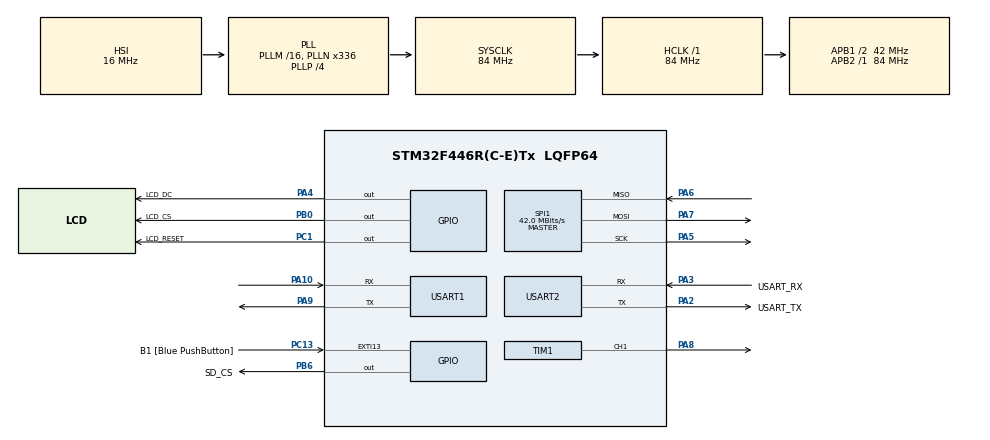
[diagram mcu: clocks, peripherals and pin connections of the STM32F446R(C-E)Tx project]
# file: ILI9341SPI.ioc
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FATFS._MAX_SS=4096
FATFS._USE_LFN=1
Mcu.Family=STM32F4
Mcu.Name=STM32F446R(C-E)Tx
Mcu.Package=LQFP64
NVIC.PriorityGroup=NVIC_PRIORITYGROUP_0
NVIC.USART1_IRQn=true\:0\:0\:false\:false\:true\:true\:true\:true
NVIC.USART2_IRQn=true\:0\:0\:false\:false\:true\:true\:true\:true
PA10.Mode=Asynchronous
PA10.Signal=USART1_RX
PA13.GPIO_Label=TMS
PA13.Mode=Serial_Wire
PA13.Signal=SYS_JTMS-SWDIO
PA14.GPIO_Label=TCK
PA14.Mode=Serial_Wire
PA14.Signal=SYS_JTCK-SWCLK
PA2.GPIO_Label=USART_TX
PA2.Mode=Asynchronous
PA2.Signal=USART2_TX
PA3.GPIO_Label=USART_RX
PA3.Mode=Asynchronous
PA3.Signal=USART2_RX
PA4.GPIO_Label=LCD_DC
PA4.GPIO_Speed=GPIO_SPEED_FREQ_MEDIUM
PA4.Signal=GPIO_Output
PA5.Mode=Full_Duplex_Master
PA5.Signal=SPI1_SCK
PA6.Mode=Full_Duplex_Master
PA6.Signal=SPI1_MISO
PA7.Mode=Full_Duplex_Master
PA7.Signal=SPI1_MOSI
PA8.Signal=S_TIM1_CH1
PA9.Mode=Asynchronous
PA9.Signal=USART1_TX
PB0.GPIO_Label=LCD_CS
PB0.GPIO_Speed=GPIO_SPEED_FREQ_MEDIUM
PB0.PinState=GPIO_PIN_SET
PB0.Signal=GPIO_Output
PB3.GPIO_Label=SWO
PB3.Signal=SYS_JTDO-SWO
PB6.GPIO_Label=SD_CS
PB6.GPIO_Speed=GPIO_SPEED_FREQ_MEDIUM
PB6.PinState=GPIO_PIN_SET
PB6.Signal=GPIO_Output
PC1.GPIO_Label=LCD_RESET
PC1.GPIO_Speed=GPIO_SPEED_FREQ_MEDIUM
PC1.Signal=GPIO_Output
PC13.GPIO_Label=B1 [Blue PushButton]
PC13.GPIO_ModeDefaultEXTI=GPIO_MODE_IT_FALLING
PC13.Signal=GPXTI13
PC14-OSC32_IN.Mode=LSE-External-Oscillator
PC14-OSC32_IN.Signal=RCC_OSC32_IN
PC15-OSC32_OUT.Mode=LSE-External-Oscillator
PC15-OSC32_OUT.Signal=RCC_OSC32_OUT
PH0-OSC_IN.Mode=HSE-External-Oscillator
PH0-OSC_IN.Signal=RCC_OSC_IN
PH1-OSC_OUT.Mode=HSE-External-Oscillator
PH1-OSC_OUT.Signal=RCC_OSC_OUT
ProjectManager.HeapSize=0x200
ProjectManager.StackSize=0x400
ProjectManager.TargetToolchain=STM32CubeIDE
RCC.48MHZClocksFreq_Value=84000000
RCC.AHBFreq_Value=84000000
RCC.APB1CLKDivider=RCC_HCLK_DIV2
RCC.APB1Freq_Value=42000000
RCC.APB1TimFreq_Value=84000000
RCC.APB2Freq_Value=84000000
RCC.APB2TimFreq_Value=84000000
RCC.CortexFreq_Value=84000000
RCC.FLatency-AdvancedSettings=FLASH_LATENCY_2
RCC.HCLKFreq_Value=84000000
RCC.HSE_VALUE=8000000
RCC.HSI_VALUE=16000000
RCC.PLLN=336
RCC.PLLP=RCC_PLLP_DIV4
RCC.SYSCLKFreq_VALUE=84000000
RCC.SYSCLKSource=RCC_SYSCLKSOURCE_PLLCLK
RCC.USBFreq_Value=168000000
RCC.VCOOutputFreq_Value=336000000
SH.S_TIM1_CH1.0=TIM1_CH1,PWM Generation1 CH1
SPI1.BaudRatePrescaler=SPI_BAUDRATEPRESCALER_2
SPI1.CalculateBaudRate=42.0 MBits/s
SPI1.Direction=SPI_DIRECTION_2LINES
SPI1.Mode=SPI_MODE_MASTER
SPI1.VirtualType=VM_MASTER
TIM1.Channel-PWM\ Generation1\ CH1=TIM_CHANNEL_1
TIM1.Period=255
TIM1.Prescaler=82
USART1.VirtualMode=VM_ASYNC
USART2.VirtualMode=VM_ASYNC
VP_FATFS_VS_Generic.Mode=User_defined
board=NUCLEO-F446RE

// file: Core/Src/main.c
/* USER CODE BEGIN Header */
/**
 ******************************************************************************
 * @file           : main.c
 * @brief          : Main program body
 ******************************************************************************
 * @attention
 *
 * Copyright (c) 2024 STMicroelectronics.
 * All rights reserved.
 *
 * This software is licensed under terms that can be found in the LICENSE file
 * in the root directory of this software component.
 * If no LICENSE file comes with this software, it is provided AS-IS.
 *
 ******************************************************************************
 */
/* USER CODE END Header */
#include "main.h"
#include "fatfs.h"

/* USER CODE BEGIN Includes */
#include "fatfs_sd.h"
#include "ili9341.h"
#include "bitmaps.h"
#include <stdio.h>
#include <string.h>
/* USER CODE END Includes */

/* USER CODE BEGIN PD */
SPI_HandleTypeDef hspi1;
FATFS fs;
FATFS *pfs;
FIL fil;
FRESULT fres;
DWORD fre_clust;
uint32_t totalSpace, freeSpace;
char buffer[100];

/* USER CODE END PD */

SPI_HandleTypeDef hspi1;

TIM_HandleTypeDef htim1;

UART_HandleTypeDef huart1;
UART_HandleTypeDef huart2;

/* USER CODE BEGIN PV */
#define NOTE_G5 784   // Sol en la quinta octava
#define NOTE_E4  330
#define NOTE_F4S 349
#define NOTE_G4S 392
#define NOTE_A4  440
#define NOTE_B4  494
#define NOTE_C5S 554
#define NOTE_D5S 622
#define NOTE_E5  659
#define NOTE_F5S 740
#define NOTE_G5S 784
#define NOTE_C5   523
#define NOTE_C5S  554
#define NOTE_D5   587
#define NOTE_D5S  622
#define NOTE_E5   659
#define NOTE_B4   494
volatile uint8_t comandoPendiente = 0;
volatile uint8_t hayComando = 0;
uint16_t kirbyMelody[] = {
    NOTE_E4, NOTE_C5S, NOTE_A4, NOTE_F4S,
    NOTE_G4S, NOTE_E4, NOTE_G4S, NOTE_A4
};

uint16_t kirbyDurations[] = {
    400, 400, 400, 400,
    400, 400, 400, 800
};

uint32_t kirbyLength = sizeof(kirbyMelody)/sizeof(kirbyMelody[0]);

// --- MELODÍA DE GAME OVER ---
uint16_t gameOverMelody[] = {
    NOTE_E5, NOTE_D5S, NOTE_D5, NOTE_C5S, NOTE_C5, NOTE_B4
};

uint16_t gameOverDurations[] = {
    300, 300, 300, 300, 300, 600
};

uint32_t gameOverLength = sizeof(gameOverMelody)/sizeof(gameOverMelody[0]);

void LCD_DrawPixel(uint16_t x, uint16_t y, uint16_t color);
int velY = 0;       // velocidad vertical
int enSuelo = 1;    // bandera para saber si está en el suelo
extern const uint16_t fondoKirby[];
extern const uint16_t fondoInicio[];
extern const uint16_t vida[];
char rx;
int flip = 0; // 0 = derecha, 1 = izquierda
int posX = 100; // posición inicial
int posY = 185;
int invulnerable = 0;   // 0 = normal, 1 = invulnerable
uint32_t tiempoInvulnerable = 0;
static int anim = 0; // índice de animación
#define TILE_SIZE 16   // tamaño de cada tile en píxeles
// --- ENEMIGO ---
int enemigoX = 230;
int enemigoY = 185;
int enemigoDir = -1;   // -1 = izquierda, 1 = derecha
int enemigoVel = 1;    // velocidad del enemigo
int animEnemigo = 0;
int vidas = 3;
int enemigosDerrotados = 0;

#define ENEMIGO_WIDTH  22
#define ENEMIGO_HEIGHT 22

int mapa[15][20] = {
  {1,1,1,1,1,1,1,1,1,1,1,1,1,1,1,1,1,1,1,1}, // fila superior bloqueada
  {1,0,0,0,0,0,0,0,0,0,0,0,0,0,0,0,0,0,0,1}, // aire
  {1,0,0,0,0,0,0,0,0,0,0,0,0,0,0,0,0,0,0,1}, // aire
  {1,0,0,0,0,0,0,0,0,0,0,0,0,0,0,0,0,0,0,1}, // aire
  {1,0,0,0,0,0,0,0,0,0,0,0,0,0,0,0,0,0,0,1}, // aire
  {1,0,0,0,0,0,0,0,0,0,0,0,0,0,0,0,0,0,0,1}, // aire
  {1,0,0,0,0,0,0,0,0,0,0,0,0,0,0,0,0,0,0,1}, // aire
  {1,0,0,0,0,0,0,0,0,0,0,0,0,0,0,0,0,0,0,1}, // aire
  {1,0,0,0,0,0,0,0,0,0,0,0,0,0,0,0,0,0,0,1}, // aire
  {1,0,0,0,0,0,0,0,0,0,0,0,0,0,0,0,0,0,0,1}, // aire
  {1,0,0,0,0,0,0,0,0,0,0,0,0,0,0,0,0,0,0,1}, // aire
  {1,0,0,0,0,0,0,0,0,0,0,0,0,0,0,0,0,0,0,1}, // aire
  {1,0,0,0,0,0,0,0,0,0,0,0,0,0,0,0,0,0,0,1}, // aire
  {1,1,1,1,1,1,1,1,1,1,1,1,1,1,1,1,1,1,1,1}, // aire
  {1,1,1,1,1,1,1,1,1,1,1,1,1,1,1,1,1,1,1,1}  // suelo al fondo
};

#define SCREEN_WIDTH  320
#define SCREEN_HEIGHT 240
#define KIRBY_WIDTH   21
#define KIRBY_HEIGHT  22

/* USER CODE END PV */

void SystemClock_Config(void);
static void MX_GPIO_Init(void);
static void MX_USART2_UART_Init(void);
static void MX_USART1_UART_Init(void);
static void MX_TIM1_Init(void);
static void MX_SPI1_Init(void);
/* USER CODE BEGIN PFP */
void LCD_Bitmap_Scaled(int x, int y, int w, int h, const uint16_t *img);
void playMelody(uint16_t *melody, uint16_t *durations, uint32_t length);
const char* fatfs_error_text(FRESULT res);
void dibujarVidas(void);

/* USER CODE END PFP */

/* USER CODE BEGIN 0 */

int puedeMover(int nuevoX, int nuevoY) {
    int tileX = nuevoX / TILE_SIZE;
    int tileY = nuevoY / TILE_SIZE;

    // Si el tile es sólido (1), no se mueve
    if (mapa[tileY][tileX] == 1) {
        return 0;
    }
    return 1;
}

int dentroPantalla(int nuevoX, int nuevoY) {
    if (nuevoX < 0) return 0; // límite izquierdo
    if (nuevoY < 0) return 0; // límite superior
    if (nuevoX + KIRBY_WIDTH >= SCREEN_WIDTH) return 0; // límite derecho
    if (nuevoY + KIRBY_HEIGHT >= SCREEN_HEIGHT) return 0; // límite inferior
    return 1; // dentro de la pantalla
}

/* USER CODE END 0 */

int main(void)
{

  /* MCU Configuration--------------------------------------------------------*/

  /* Reset of all peripherals, Initializes the Flash interface and the Systick. */
  HAL_Init();

  /* Configure the system clock */
  SystemClock_Config();

  /* Initialize all configured peripherals */
  MX_GPIO_Init();
  MX_USART2_UART_Init();
  MX_SPI1_Init();
  MX_USART1_UART_Init();
  MX_FATFS_Init();
  MX_TIM1_Init();
  /* USER CODE BEGIN 2 */
  HAL_TIM_PWM_Start(&htim1, TIM_CHANNEL_1);
  #define DBG(s)  HAL_UART_Transmit(&huart2, (uint8_t*)(s), strlen(s), 200)
  void transmit_uart(const char *s) {
      HAL_UART_Transmit(&huart2, (uint8_t*)s, strlen(s), 200);
  }

  FRESULT f_mount(FATFS *fs, const TCHAR *path, BYTE opt);
  FRESULT f_open(FIL* fp, const TCHAR* path, BYTE mode);
  TCHAR* f_gets(TCHAR* buff, int len, FIL* fp);
  FRESULT f_close(FIL* fp);
  FRESULT f_read(FIL* fp, void* buff, UINT btr, UINT* br);
  FRESULT f_write(FIL* fp, const void* buff, UINT btr, UINT* br);

  fres = f_mount(&fs, "", 0);
  if (fres != FR_OK) {
   transmit_uart("Micro SD card is mounted succesfully!\n");
   } else if (fres != FR_OK){
   transmit_uart("Micro SD car munt error");
   }
      // 2. Crear archivo nuevo
      fres = f_open(&fil, "PRUEBA.TXT", FA_OPEN_APPEND | FA_WRITE | FA_READ);
      if (fres == FR_OK) {
          transmit_uart("File opened for reading and checking the free space\n");
      } else if (fres != FR_OK){
    	  transmit_uart("File was not opned for reading an checking the free space\n");
      }
       for (uint8_t i = 0; i <10; i++){
        	  f_puts("This text is written in the file.\n",&fil);
       }
          // 4. Cerrar archivo
          fres = f_close(&fil);
          if (fres == FR_OK) {
              transmit_uart("The file is closed.\n");
          } else if (fres != FR_OK){
              transmit_uart("The file was not closed.\n");
          }
      fres = f_open(&fil, "PRUEBA.TXT", FA_READ);
      if (fres == FR_OK){
    	  transmit_uart("File opened for reading\n");
      } else if (fres != FR_OK){
    	  transmit_uart("File was not opened for reading\n");
      }
      while (f_gets(buffer, sizeof(buffer), &fil)){
    	  char mRd[100];
    	  sprintf(mRd, "%s", buffer);
    	  transmit_uart(mRd);
      }
      //Close File
      fres = f_close(&fil);
      if (fres == FR_OK){
    	  transmit_uart("The file is closed\n");
      } else if (fres != FR_OK){
    	  transmit_uart("The file was not closed\n");
      }
      // 5. Desmontar SD
      fres = f_mount(NULL, "", 1);
      if (fres == FR_OK) {
          transmit_uart("SD unmounted.\n");
      } else {
          transmit_uart("SD unmount error.\n");
      }

  char msg[] = "STM32 listo\r\n";

  // --- MENÚ DE INICIO ---
  LCD_Init();
  LCD_Clear(0x0000);
  LCD_Bitmap_Scaled(0, 0, 160, 120, fondoInicio);
  LCD_Print("Presiona cualquier", 20, 100, 2, 0xFFFF, 0x0000);
  LCD_Print("boton", 100, 120, 2, 0xFFFF, 0x0000);

  // Esperar botón
  while (HAL_UART_Receive(&huart1, (uint8_t*)&rx, 1, 100) != HAL_OK);

  // Reproducir música de inicio
  playMelody(kirbyMelody, kirbyDurations, kirbyLength);

  // --- ESCENARIO PRINCIPAL ---
  LCD_Clear(0x0000);
  LCD_Bitmap_Scaled(0, 0, 160, 120, fondoKirby);

  // dibuja bloques del escenario
  for (int x = 0; x < 319; x += 15) {

      LCD_Bitmap(x, 207, 15, 15, tile);
      LCD_Bitmap(x, 223, 15, 15, tile);
  }

  // dibuja a Kirby en la posición inicial
  LCD_Sprite(posX, posY, KIRBY_WIDTH, KIRBY_HEIGHT, kirby, 4, 0, 0, 0);
  // Dibujar enemigo al iniciar
  LCD_Sprite(enemigoX, enemigoY,
             ENEMIGO_WIDTH, ENEMIGO_HEIGHT,
             enemigo, 2, 0, 0, 0xF81F);
  // preparar UART para recibir datos del mando
  HAL_UART_Receive_IT(&huart1, (uint8_t*)&rx, 1);
  HAL_UART_Transmit(&huart1, (uint8_t*)msg, sizeof(msg)-1, 100);

  /* USER CODE END 2 */

  /* Infinite loop */
  /* USER CODE BEGIN WHILE */
	LCD_Sprite(posX, posY, 21, 22, kirby, 4, 0, 0, 0);

	while (1) {
	    // Recepción de datos desde el ESP32
		if (hayComando)
		{
		    uint8_t comando;

		    __disable_irq();
		    comando = comandoPendiente;
		    hayComando = 0;
		    __enable_irq();

		    if (comando == 'L' && dentroPantalla(posX - 5, posY))
		    {
		        posX -= 5;
		        flip = 1;
		    }
		    else if (comando == 'R' && dentroPantalla(posX + 5, posY))
		    {
		        posX += 5;
		        flip = 0;
		    }
		    else if (comando == 'A' && enSuelo)
		    {
		        velY = -12;
		        enSuelo = 0;
		    }

		    if (comando == 'L' || comando == 'R' || comando == 'A')
		    {
		        playMelody(kirbyMelody, kirbyDurations, kirbyLength);
		    }
		}
	    // Guardar posición anterior
	    int oldX = posX;
	    int oldY = posY;

	    // --- GRAVEDAD + DETECCIÓN DE BLOQUES ---
	    velY += 1;
	    int nuevoY = posY + velY;

	    int tileLeft  = posX / TILE_SIZE;
	    int tileRight = (posX + KIRBY_WIDTH - 1) / TILE_SIZE;
	    int tileY     = (nuevoY + KIRBY_HEIGHT) / TILE_SIZE;

	    if (tileY >= 0 && tileY < 15) {
	        if ((mapa[tileY][tileLeft] == 1 || mapa[tileY][tileRight] == 1) && velY >= 0) {
	            posY = tileY * TILE_SIZE - KIRBY_HEIGHT;
	            velY = 0;
	            enSuelo = 1;
	        } else {
	            posY = nuevoY;
	            enSuelo = 0;
	        }
	    } else {
	        posY = nuevoY;
	        enSuelo = 0;
	    }

	    // --- REDIBUJAR KIRBY ---
	    // Borrar sprite anterior en la posición vieja
	    LCD_Bitmap(oldX, oldY, KIRBY_WIDTH, KIRBY_HEIGHT, fondoKirby);
	    dibujarVidas();
	    // Animación según estado
	    if (enSuelo) {
	        anim = 0; // quieto en el suelo
	    } else {
	        anim = (anim + 1) % 4; // animación en el aire
	    }

	    // Dibujar sprite en la nueva posición
	    LCD_Sprite(posX, posY, KIRBY_WIDTH, KIRBY_HEIGHT, kirby, 4, anim, 0, 0);
	    // --- MOVIMIENTO AUTOMÁTICO DEL ENEMIGO ---
	    int enemigoXAnterior = enemigoX;

	    // Mover enemigo
	    enemigoX += enemigoDir * enemigoVel;

	    // Cambiar dirección al llegar a los límites
	    if (enemigoX <= 20) {
	        enemigoX = 20;
	        enemigoDir = 1;
	    }
	    else if (enemigoX + ENEMIGO_WIDTH >= SCREEN_WIDTH - 10) {
	        enemigoX = SCREEN_WIDTH - ENEMIGO_WIDTH - 10;
	        enemigoDir = -1;
	    }

	    // Animación sencilla
	    animEnemigo = (animEnemigo + 1) % 2;

	    // Borrar posición anterior
	    LCD_Bitmap(enemigoXAnterior, enemigoY,
	               ENEMIGO_WIDTH, ENEMIGO_HEIGHT, fondoKirby);

	    // Dibujar enemigo en nueva posición
	    LCD_Sprite(enemigoX, enemigoY,
	               ENEMIGO_WIDTH, ENEMIGO_HEIGHT,
	               enemigo, 2, animEnemigo % 4,
	               (enemigoDir == -1) ? 1 : 0, 0xF81F);

	    // --- DETECCIÓN DE COLISIÓN ENTRE KIRBY Y ENEMIGO ---
	    if (posX < enemigoX + ENEMIGO_WIDTH &&
	        posX + KIRBY_WIDTH > enemigoX &&
	        posY < enemigoY + ENEMIGO_HEIGHT &&
	        posY + KIRBY_HEIGHT > enemigoY) {

	    	// Caso: Kirby cae encima del enemigo
	    	// Caso: Kirby cae encima del enemigo
	    	if (velY > 0 && (posY + KIRBY_HEIGHT - 5) <= enemigoY) {
	    	    velY = -10; // rebote hacia arriba

	    	    // --- Animación de morir del enemigo ---
	    	    LCD_Sprite(enemigoX, enemigoY,
	    	               ENEMIGO_WIDTH, ENEMIGO_HEIGHT,
	    	               enemigo, 2, 3, 0, 0xF81F);
	    	    HAL_Delay(300);

	    	    // Luego borrarlo de pantalla
	    	    LCD_Bitmap(enemigoX, enemigoY, ENEMIGO_WIDTH, ENEMIGO_HEIGHT, fondoKirby);
	    	    enemigoX = -100;

	    	    // Sonido de enemigo derrotado
	    	    uint16_t enemyHitMelody[] = { NOTE_E5, NOTE_C5 };
	    	    uint16_t enemyHitDurations[] = { 150, 300 };
	    	    playMelody(enemyHitMelody, enemyHitDurations, 2);

	    	    // Contador de enemigos derrotados
	    	    enemigosDerrotados++;

	    	    // Verificar si ya ganó
	    	    if (enemigosDerrotados >= 5) {
	    	        LCD_Clear(0x0000);
	    	        LCD_Print("¡GANASTE!", 100, 80, 2, 0xFFFF, 0x0000);

	    	        uint16_t winMelody[] = { NOTE_C5, NOTE_E5, NOTE_G5, NOTE_C5*2 };
	    	        uint16_t winDurations[] = { 200, 200, 200, 600 };
	    	        playMelody(winMelody, winDurations, 4);

	    	        while(1); // detener el juego
	    	    }
	    	}

	        else {
	            // Caso: el enemigo daña a Kirby
	            if (!invulnerable && vidas > 0) {
	                vidas--;          // resta una vida
	                dibujarVidas();   // actualiza la barra de vidas

	                invulnerable = 1; // activa invulnerabilidad
	                tiempoInvulnerable = HAL_GetTick();

	                // --- SONIDO DE DAÑO ---
	                uint16_t damageMelody[] = { NOTE_C5, NOTE_B4 };
	                uint16_t damageDurations[] = { 100, 300 };
	                playMelody(damageMelody, damageDurations, 2);
	            }
	        }
	    }

	    // --- CONTROL DE INVULNERABILIDAD ---
	    if (invulnerable && (HAL_GetTick() - tiempoInvulnerable > 2000)) {
	        invulnerable = 0; // vuelve a estado normal después de 2 segundos
	    }

	    // --- GAME OVER ---
	    if (vidas <= 0) {
	        LCD_Clear(0x0000);
	        LCD_Print("GAME OVER", 100, 80, 2, 0xFFFF, 0x0000);

	        // Reproducir canción de Game Over
	        playMelody(gameOverMelody, gameOverDurations, gameOverLength);
	    }

	    HAL_Delay(40);

    /* USER CODE END WHILE */

	}
}

void SystemClock_Config(void)
{
  RCC_OscInitTypeDef RCC_OscInitStruct = {0};
  RCC_ClkInitTypeDef RCC_ClkInitStruct = {0};

  /** Configure the main internal regulator output voltage
  */
  __HAL_RCC_PWR_CLK_ENABLE();
  __HAL_PWR_VOLTAGESCALING_CONFIG(PWR_REGULATOR_VOLTAGE_SCALE3);

  /** Initializes the RCC Oscillators according to the specified parameters
  * in the RCC_OscInitTypeDef structure.
  */
  RCC_OscInitStruct.OscillatorType = RCC_OSCILLATORTYPE_HSI;
  RCC_OscInitStruct.HSIState = RCC_HSI_ON;
  RCC_OscInitStruct.HSICalibrationValue = RCC_HSICALIBRATION_DEFAULT;
  RCC_OscInitStruct.PLL.PLLState = RCC_PLL_ON;
  RCC_OscInitStruct.PLL.PLLSource = RCC_PLLSOURCE_HSI;
  RCC_OscInitStruct.PLL.PLLM = 16;
  RCC_OscInitStruct.PLL.PLLN = 336;
  RCC_OscInitStruct.PLL.PLLP = RCC_PLLP_DIV4;
  RCC_OscInitStruct.PLL.PLLQ = 2;
  RCC_OscInitStruct.PLL.PLLR = 2;
  if (HAL_RCC_OscConfig(&RCC_OscInitStruct) != HAL_OK)
  {
    Error_Handler();
  }

  /** Initializes the CPU, AHB and APB buses clocks
  */
  RCC_ClkInitStruct.ClockType = RCC_CLOCKTYPE_HCLK|RCC_CLOCKTYPE_SYSCLK
                              |RCC_CLOCKTYPE_PCLK1|RCC_CLOCKTYPE_PCLK2;
  RCC_ClkInitStruct.SYSCLKSource = RCC_SYSCLKSOURCE_PLLCLK;
  RCC_ClkInitStruct.AHBCLKDivider = RCC_SYSCLK_DIV1;
  RCC_ClkInitStruct.APB1CLKDivider = RCC_HCLK_DIV2;
  RCC_ClkInitStruct.APB2CLKDivider = RCC_HCLK_DIV1;

  if (HAL_RCC_ClockConfig(&RCC_ClkInitStruct, FLASH_LATENCY_2) != HAL_OK)
  {
    Error_Handler();
  }
}

  /* SPI1 parameter configuration*/
  static void MX_SPI1_Init(void) {
  hspi1.Instance = SPI1;
  hspi1.Init.Mode = SPI_MODE_MASTER;
  hspi1.Init.Direction = SPI_DIRECTION_2LINES;
  hspi1.Init.DataSize = SPI_DATASIZE_8BIT;
  hspi1.Init.CLKPolarity = SPI_POLARITY_LOW;
  hspi1.Init.CLKPhase = SPI_PHASE_1EDGE;
  hspi1.Init.NSS = SPI_NSS_SOFT;
  hspi1.Init.BaudRatePrescaler = SPI_BAUDRATEPRESCALER_2;
  hspi1.Init.FirstBit = SPI_FIRSTBIT_MSB;
  hspi1.Init.TIMode = SPI_TIMODE_DISABLE;
  hspi1.Init.CRCCalculation = SPI_CRCCALCULATION_DISABLE;
  hspi1.Init.CRCPolynomial = 10;
  if (HAL_SPI_Init(&hspi1) != HAL_OK)
  {
    Error_Handler();
  }

}

static void MX_TIM1_Init(void)
{

  TIM_MasterConfigTypeDef sMasterConfig = {0};
  TIM_OC_InitTypeDef sConfigOC = {0};
  TIM_BreakDeadTimeConfigTypeDef sBreakDeadTimeConfig = {0};

  htim1.Instance = TIM1;
  htim1.Init.Prescaler = 82;
  htim1.Init.CounterMode = TIM_COUNTERMODE_UP;
  htim1.Init.Period = 255;
  htim1.Init.ClockDivision = TIM_CLOCKDIVISION_DIV1;
  htim1.Init.RepetitionCounter = 0;
  htim1.Init.AutoReloadPreload = TIM_AUTORELOAD_PRELOAD_DISABLE;
  if (HAL_TIM_PWM_Init(&htim1) != HAL_OK)
  {
    Error_Handler();
  }
  sMasterConfig.MasterOutputTrigger = TIM_TRGO_RESET;
  sMasterConfig.MasterSlaveMode = TIM_MASTERSLAVEMODE_DISABLE;
  if (HAL_TIMEx_MasterConfigSynchronization(&htim1, &sMasterConfig) != HAL_OK)
  {
    Error_Handler();
  }
  sConfigOC.OCMode = TIM_OCMODE_PWM1;
  sConfigOC.Pulse = 0;
  sConfigOC.OCPolarity = TIM_OCPOLARITY_HIGH;
  sConfigOC.OCNPolarity = TIM_OCNPOLARITY_HIGH;
  sConfigOC.OCFastMode = TIM_OCFAST_DISABLE;
  sConfigOC.OCIdleState = TIM_OCIDLESTATE_RESET;
  sConfigOC.OCNIdleState = TIM_OCNIDLESTATE_RESET;
  if (HAL_TIM_PWM_ConfigChannel(&htim1, &sConfigOC, TIM_CHANNEL_1) != HAL_OK)
  {
    Error_Handler();
  }
  sBreakDeadTimeConfig.OffStateRunMode = TIM_OSSR_DISABLE;
  sBreakDeadTimeConfig.OffStateIDLEMode = TIM_OSSI_DISABLE;
  sBreakDeadTimeConfig.LockLevel = TIM_LOCKLEVEL_OFF;
  sBreakDeadTimeConfig.DeadTime = 0;
  sBreakDeadTimeConfig.BreakState = TIM_BREAK_DISABLE;
  sBreakDeadTimeConfig.BreakPolarity = TIM_BREAKPOLARITY_HIGH;
  sBreakDeadTimeConfig.AutomaticOutput = TIM_AUTOMATICOUTPUT_DISABLE;
  if (HAL_TIMEx_ConfigBreakDeadTime(&htim1, &sBreakDeadTimeConfig) != HAL_OK)
  {
    Error_Handler();
  }
  HAL_TIM_MspPostInit(&htim1);

}

static void MX_USART1_UART_Init(void)
{

  huart1.Instance = USART1;
  huart1.Init.BaudRate = 115200;
  huart1.Init.WordLength = UART_WORDLENGTH_8B;
  huart1.Init.StopBits = UART_STOPBITS_1;
  huart1.Init.Parity = UART_PARITY_NONE;
  huart1.Init.Mode = UART_MODE_TX_RX;
  huart1.Init.HwFlowCtl = UART_HWCONTROL_NONE;
  huart1.Init.OverSampling = UART_OVERSAMPLING_16;
  if (HAL_UART_Init(&huart1) != HAL_OK)
  {
    Error_Handler();
  }

}

static void MX_USART2_UART_Init(void)
{

  huart2.Instance = USART2;
  huart2.Init.BaudRate = 115200;
  huart2.Init.WordLength = UART_WORDLENGTH_8B;
  huart2.Init.StopBits = UART_STOPBITS_1;
  huart2.Init.Parity = UART_PARITY_NONE;
  huart2.Init.Mode = UART_MODE_TX_RX;
  huart2.Init.HwFlowCtl = UART_HWCONTROL_NONE;
  huart2.Init.OverSampling = UART_OVERSAMPLING_16;
  if (HAL_UART_Init(&huart2) != HAL_OK)
  {
    Error_Handler();
  }

}

static void MX_GPIO_Init(void)
{
  GPIO_InitTypeDef GPIO_InitStruct = {0};

  /* GPIO Ports Clock Enable */
  __HAL_RCC_GPIOC_CLK_ENABLE();
  __HAL_RCC_GPIOH_CLK_ENABLE();
  __HAL_RCC_GPIOA_CLK_ENABLE();
  __HAL_RCC_GPIOB_CLK_ENABLE();

  /*Configure GPIO pin Output Level */
  HAL_GPIO_WritePin(LCD_RESET_GPIO_Port, LCD_RESET_Pin, GPIO_PIN_RESET);

  /*Configure GPIO pin Output Level */
  HAL_GPIO_WritePin(LCD_DC_GPIO_Port, LCD_DC_Pin, GPIO_PIN_RESET);

  /*Configure GPIO pin Output Level */
  HAL_GPIO_WritePin(GPIOB, LCD_CS_Pin|SD_CS_Pin, GPIO_PIN_SET);

  /*Configure GPIO pin : B1_Pin */
  GPIO_InitStruct.Pin = B1_Pin;
  GPIO_InitStruct.Mode = GPIO_MODE_IT_FALLING;
  GPIO_InitStruct.Pull = GPIO_NOPULL;
  HAL_GPIO_Init(B1_GPIO_Port, &GPIO_InitStruct);

  /*Configure GPIO pin : LCD_RESET_Pin */
  GPIO_InitStruct.Pin = LCD_RESET_Pin;
  GPIO_InitStruct.Mode = GPIO_MODE_OUTPUT_PP;
  GPIO_InitStruct.Pull = GPIO_NOPULL;
  GPIO_InitStruct.Speed = GPIO_SPEED_FREQ_MEDIUM;
  HAL_GPIO_Init(LCD_RESET_GPIO_Port, &GPIO_InitStruct);

  /*Configure GPIO pin : LCD_DC_Pin */
  GPIO_InitStruct.Pin = LCD_DC_Pin;
  GPIO_InitStruct.Mode = GPIO_MODE_OUTPUT_PP;
  GPIO_InitStruct.Pull = GPIO_NOPULL;
  GPIO_InitStruct.Speed = GPIO_SPEED_FREQ_MEDIUM;
  HAL_GPIO_Init(LCD_DC_GPIO_Port, &GPIO_InitStruct);

  /*Configure GPIO pins : LCD_CS_Pin SD_CS_Pin */
  GPIO_InitStruct.Pin = LCD_CS_Pin|SD_CS_Pin;
  GPIO_InitStruct.Mode = GPIO_MODE_OUTPUT_PP;
  GPIO_InitStruct.Pull = GPIO_NOPULL;
  GPIO_InitStruct.Speed = GPIO_SPEED_FREQ_MEDIUM;
  HAL_GPIO_Init(GPIOB, &GPIO_InitStruct);

}

/* USER CODE BEGIN 4 */
void dibujarVidas() {
    for (int i = 0; i < vidas; i++) {
        LCD_Bitmap(10 + i*25, 10, 20, 20, vida); // dibuja cada ícono
    }
}

void playMelody(uint16_t *melody, uint16_t *durations, uint32_t length) {
  for (uint32_t i=0; i<length; i++) {
    uint32_t freq = melody[i];              // frecuencia de la nota
    uint32_t dur  = durations[i];           // duración en ms

    htim1.Init.Period = (84000000/(freq*84))-1;
    HAL_TIM_PWM_Init(&htim1);   // reinicializa el timer en cada nota
    __HAL_TIM_SET_COMPARE(&htim1, TIM_CHANNEL_1, htim1.Init.Period/2);

    HAL_Delay(dur);
    __HAL_TIM_SET_COMPARE(&htim1, TIM_CHANNEL_1, 0); // apaga la nota
    HAL_Delay(50);
  }
}

void LCD_Bitmap_Scaled(int x, int y, int w, int h, const uint16_t *img) {
    for (int j = 0; j < h; j++) {
        for (int i = 0; i < w; i++) {
            uint16_t color = img[j * w + i]; // pixel original
            // duplicar en 2x2
            LCD_DrawPixel(x + i*2,     y + j*2,     color);
            LCD_DrawPixel(x + i*2 + 1, y + j*2,     color);
            LCD_DrawPixel(x + i*2,     y + j*2 + 1, color);
            LCD_DrawPixel(x + i*2 + 1, y + j*2 + 1, color);
        }
    }
}

void HAL_UART_RxCpltCallback(UART_HandleTypeDef *huart) {
    if (huart->Instance == USART1) {
        char buffer[30];
        sprintf(buffer, "Recibido: %c\r\n", rx);
        HAL_UART_Transmit(&huart1, (uint8_t*)buffer, strlen(buffer), 1);

        // Guardar posición anterior
        int oldX = posX;
        int oldY = posY;

        // Movimiento con colisión y límites de pantalla
        if (rx == 'L' && dentroPantalla(posX - 5, posY)) {
            posX -= 5;
            flip = 1; // voltear sprite a la izquierda
        }
        if (rx == 'R' && dentroPantalla(posX + 5, posY)) {
            posX += 5;
            flip = 0; // sprite normal (derecha)
        }
        if (rx == 'A' && enSuelo) {
            velY = -12;   // impulso de salto hacia arriba
            enSuelo = 0;
        }

        // Borrar sprite anterior en la posición vieja con el fondo
        LCD_Bitmap(oldX, oldY, KIRBY_WIDTH, KIRBY_HEIGHT, fondoKirby);

        // Animación según estado
        if (enSuelo) {
            anim = 0; // quieto en el suelo
        } else {
            anim = (anim + 1) % 4; // animación en el aire
        }

        // Dibujar Kirby en la nueva posición con flip
        LCD_Sprite(posX, posY, KIRBY_WIDTH, KIRBY_HEIGHT, kirby, 4, anim, flip, 0);

        // Rearmar recepción para el siguiente byte
        HAL_UART_Receive_IT(&huart1, (uint8_t*)&rx, 1);
    }
}

const char* fatfs_error_text(FRESULT res) {
    switch (res) {
        case FR_OK: return "FR_OK (sin error)";
        case FR_DISK_ERR: return "FR_DISK_ERR (error de hardware)";
        case FR_INT_ERR: return "FR_INT_ERR (error interno)";
        case FR_NOT_READY: return "FR_NOT_READY (disco no listo)";
        case FR_NO_FILE: return "FR_NO_FILE (archivo no encontrado)";
        case FR_NO_PATH: return "FR_NO_PATH (ruta no encontrada)";
        case FR_INVALID_NAME: return "FR_INVALID_NAME (nombre inválido)";
        case FR_DENIED: return "FR_DENIED (acceso denegado)";
        case FR_EXIST: return "FR_EXIST (archivo ya existe)";
        case FR_INVALID_OBJECT: return "FR_INVALID_OBJECT (objeto inválido)";
        case FR_WRITE_PROTECTED: return "FR_WRITE_PROTECTED (SD protegida contra escritura)";
        case FR_INVALID_DRIVE: return "FR_INVALID_DRIVE (unidad inválida)";
        case FR_NOT_ENABLED: return "FR_NOT_ENABLED (FatFs no habilitado)";
        case FR_NO_FILESYSTEM: return "FR_NO_FILESYSTEM (no hay sistema de archivos válido)";
        case FR_MKFS_ABORTED: return "FR_MKFS_ABORTED (formato abortado)";
        case FR_TIMEOUT: return "FR_TIMEOUT (tiempo de espera)";
        case FR_LOCKED: return "FR_LOCKED (bloqueado)";
        case FR_NOT_ENOUGH_CORE: return "FR_NOT_ENOUGH_CORE (memoria insuficiente)";
        case FR_TOO_MANY_OPEN_FILES: return "FR_TOO_MANY_OPEN_FILES (demasiados archivos abiertos)";
        default: return "Error desconocido";
    }
}

/* USER CODE END 4 */

void Error_Handler(void)
{
	__disable_irq();
	while (1) {
	}
}
